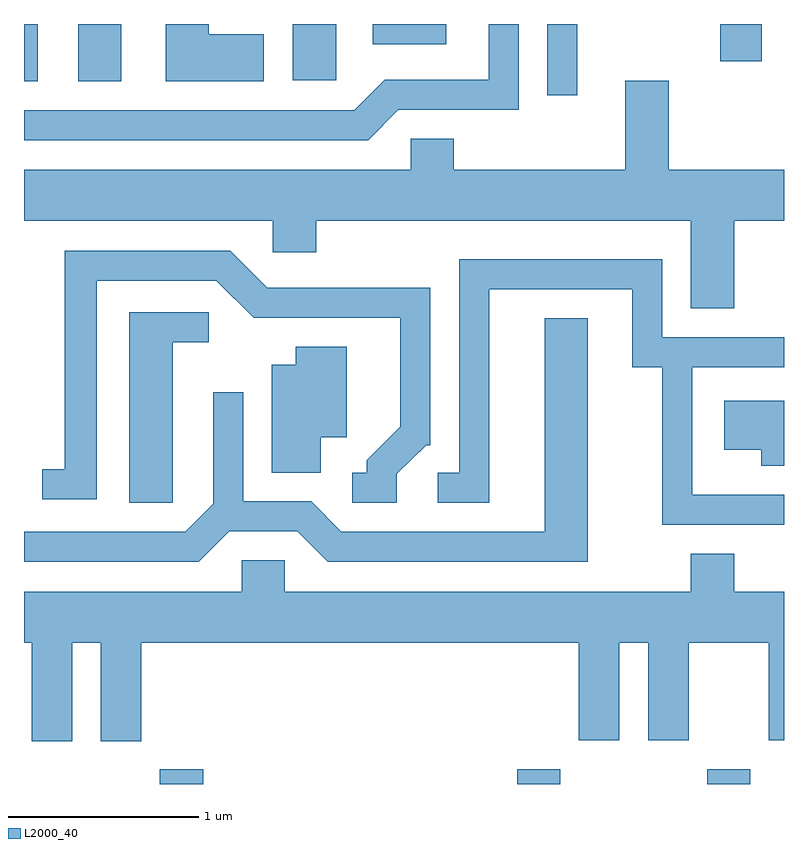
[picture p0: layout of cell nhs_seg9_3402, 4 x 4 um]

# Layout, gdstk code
import gdstk
lib = gdstk.Library(unit=1e-6, precision=1e-09)
def R(c, l, rs):  # rectangles x0, y0, x1, y1
    for r in rs: c.add(gdstk.rectangle(r[:2], r[2:], *l))
def P(c, l, *ps):  # polygons
    for p in ps: c.add(gdstk.Polygon(p, *l))
L2000_40 = (2000, 40)

nhs_seg9_3402 = lib.new_cell('nhs_seg9_3402')
R(nhs_seg9_3402, L2000_40, [(286.326,1964.432,286.554,1964.509), (288.206,1964.432,288.434,1964.509), (289.206,1964.432,289.434,1964.509), (288.366,1968.058,288.524,1968.432), (285.611,1968.131,285.684,1968.432), (285.896,1968.131,286.124,1968.432), (287.026,1968.136,287.254,1968.432), (289.276,1968.236,289.494,1968.432), (287.446,1968.326,287.834,1968.432)])
P(nhs_seg9_3402, L2000_40, [(286.874,1968.379),(286.584,1968.379),(286.584,1968.432),(286.356,1968.432),(286.356,1968.131),(286.874,1968.131)],
  [(287.582,1967.981),(288.214,1967.981),(288.214,1968.432),(288.056,1968.432),(288.056,1968.139),(287.509,1968.139),(287.349,1967.979),(285.611,1967.979),(285.611,1967.821),(287.422,1967.821)],
  [(289.349,1967.396),(289.611,1967.396),(289.611,1967.664),(289.004,1967.664),(289.004,1968.134),(288.776,1968.134),(288.776,1967.664),(287.874,1967.664),(287.874,1967.829),(287.646,1967.829),(287.646,1967.664),(285.611,1967.664),(285.611,1967.396),(286.921,1967.396),(286.921,1967.231),(287.149,1967.231),(287.149,1967.396),(289.121,1967.396),(289.121,1966.936),(289.349,1966.936)],
  [(287.574,1966.064),(287.727,1966.216),(287.749,1966.216),(287.749,1967.044),(286.892,1967.044),(286.697,1967.239),(285.826,1967.239),(285.826,1966.089),(285.708,1966.089),(285.708,1965.931),(285.994,1965.931),(285.994,1967.081),(286.624,1967.081),(286.819,1966.886),(287.591,1966.886),(287.591,1966.312),(287.416,1966.137),(287.416,1966.069),(287.338,1966.069),(287.338,1965.911),(287.574,1965.911)],
  [(289.611,1965.954),(289.129,1965.954),(289.129,1966.626),(289.611,1966.626),(289.611,1966.784),(288.969,1966.784),(288.969,1967.194),(287.901,1967.194),(287.901,1966.069),(287.788,1966.069),(287.788,1965.911),(288.059,1965.911),(288.059,1967.036),(288.811,1967.036),(288.811,1966.626),(288.971,1966.626),(288.971,1965.796),(289.611,1965.796)],
  [(286.394,1966.756),(286.583,1966.756),(286.583,1966.914),(286.166,1966.914),(286.166,1965.911),(286.394,1965.911)],
  [(286.692,1965.761),(287.049,1965.761),(287.209,1965.601),(288.579,1965.601),(288.579,1966.884),(288.351,1966.884),(288.351,1965.759),(287.282,1965.759),(287.122,1965.919),(286.764,1965.919),(286.764,1966.493),(286.606,1966.493),(286.606,1965.907),(286.459,1965.759),(285.611,1965.759),(285.611,1965.601),(286.532,1965.601)],
  [(287.174,1966.256),(287.309,1966.256),(287.309,1966.734),(287.041,1966.734),(287.041,1966.639),(286.916,1966.639),(286.916,1966.071),(287.174,1966.071)],
  [(289.611,1966.449),(289.296,1966.449),(289.296,1966.191),(289.491,1966.191),(289.491,1966.106),(289.611,1966.106)],
  [(285.864,1965.176),(286.016,1965.176),(286.016,1964.656),(286.229,1964.656),(286.229,1965.176),(288.531,1965.176),(288.531,1964.661),(288.744,1964.661),(288.744,1965.176),(288.896,1965.176),(288.896,1964.661),(289.109,1964.661),(289.109,1965.176),(289.531,1965.176),(289.531,1964.661),(289.611,1964.661),(289.611,1965.444),(289.349,1965.444),(289.349,1965.644),(289.121,1965.644),(289.121,1965.444),(286.984,1965.444),(286.984,1965.609),(286.756,1965.609),(286.756,1965.444),(285.611,1965.444),(285.611,1965.176),(285.651,1965.176),(285.651,1964.656),(285.864,1964.656)])

lib.write_gds('nhs_seg9_3402.gds')
